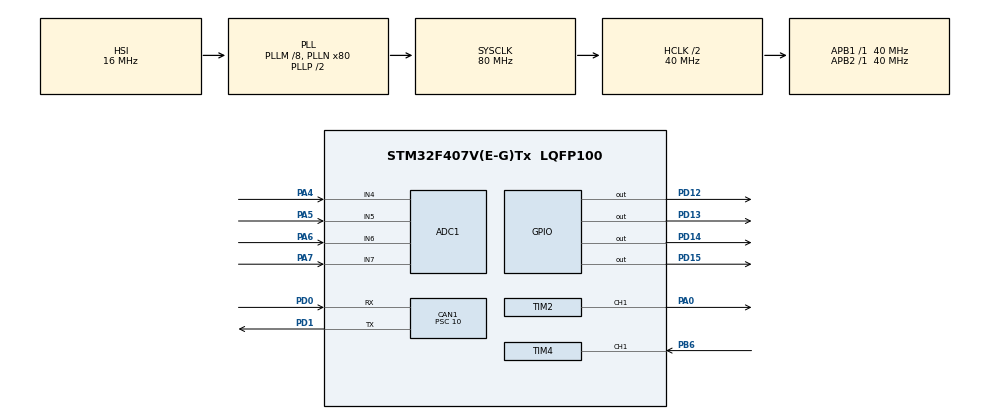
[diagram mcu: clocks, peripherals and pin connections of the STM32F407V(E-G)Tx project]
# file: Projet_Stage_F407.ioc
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ADC1.Channel-0\#ChannelRegularConversion=ADC_CHANNEL_4
ADC1.Channel-1\#ChannelRegularConversion=ADC_CHANNEL_5
ADC1.Channel-2\#ChannelRegularConversion=ADC_CHANNEL_6
ADC1.Channel-3\#ChannelRegularConversion=ADC_CHANNEL_7
ADC1.DMAContinuousRequests=ENABLE
ADC1.DiscontinuousConvMode=ENABLE
ADC1.EOCSelection=ADC_EOC_SEQ_CONV
ADC1.ExternalTrigConv=ADC_EXTERNALTRIGCONV_T3_TRGO
ADC1.NbrOfConversion=4
ADC1.NbrOfConversionFlag=1
ADC1.NbrOfDiscConversion=4
ADC1.Rank-0\#ChannelRegularConversion=1
ADC1.Rank-1\#ChannelRegularConversion=2
ADC1.Rank-2\#ChannelRegularConversion=3
ADC1.Rank-3\#ChannelRegularConversion=4
ADC1.SamplingTime-0\#ChannelRegularConversion=ADC_SAMPLETIME_15CYCLES
ADC1.SamplingTime-1\#ChannelRegularConversion=ADC_SAMPLETIME_15CYCLES
ADC1.SamplingTime-2\#ChannelRegularConversion=ADC_SAMPLETIME_15CYCLES
ADC1.SamplingTime-3\#ChannelRegularConversion=ADC_SAMPLETIME_15CYCLES
ADC1.ScanConvMode=ENABLE
ADC1.master=1
CAN1.ABOM=ENABLE
CAN1.BS1=CAN_BS1_10TQ
CAN1.BS2=CAN_BS2_5TQ
CAN1.CalculateBaudRate=250000
CAN1.CalculateTimeBit=4000
CAN1.CalculateTimeQuantum=250.0
CAN1.NART=ENABLE
CAN1.Prescaler=10
Dma.ADC1.0.Direction=DMA_PERIPH_TO_MEMORY
Dma.ADC1.0.FIFOMode=DMA_FIFOMODE_DISABLE
Dma.ADC1.0.Instance=DMA2_Stream0
Dma.ADC1.0.MemDataAlignment=DMA_MDATAALIGN_HALFWORD
Dma.ADC1.0.MemInc=DMA_MINC_ENABLE
Dma.ADC1.0.Mode=DMA_CIRCULAR
Dma.ADC1.0.PeriphDataAlignment=DMA_PDATAALIGN_HALFWORD
Dma.ADC1.0.PeriphInc=DMA_PINC_DISABLE
Dma.ADC1.0.Priority=DMA_PRIORITY_LOW
Dma.Request0=ADC1
Mcu.Family=STM32F4
Mcu.Name=STM32F407V(E-G)Tx
Mcu.Package=LQFP100
NVIC.CAN1_RX0_IRQn=true\:0\:0\:false\:false\:true\:true\:true\:true
NVIC.DMA2_Stream0_IRQn=true\:0\:0\:false\:false\:true\:false\:true\:true
NVIC.PriorityGroup=NVIC_PRIORITYGROUP_4
NVIC.TIM4_IRQn=true\:0\:0\:false\:false\:true\:true\:true\:true
PA0-WKUP.Signal=S_TIM2_CH1_ETR
PA4.Signal=ADCx_IN4
PA5.Signal=ADCx_IN5
PA6.Signal=ADCx_IN6
PA7.Signal=ADCx_IN7
PB6.Signal=S_TIM4_CH1
PD0.Mode=CAN_Activate
PD0.Signal=CAN1_RX
PD1.Mode=CAN_Activate
PD1.Signal=CAN1_TX
PD12.Signal=GPIO_Output
PD13.Signal=GPIO_Output
PD14.Signal=GPIO_Output
PD15.Signal=GPIO_Output
PH0-OSC_IN.Mode=HSE-External-Oscillator
PH0-OSC_IN.Signal=RCC_OSC_IN
PH1-OSC_OUT.Mode=HSE-External-Oscillator
PH1-OSC_OUT.Signal=RCC_OSC_OUT
ProjectManager.HeapSize=0x200
ProjectManager.StackSize=0x400
ProjectManager.TargetToolchain=STM32CubeIDE
RCC.48MHZClocksFreq_Value=40000000
RCC.AHBCLKDivider=RCC_SYSCLK_DIV2
RCC.AHBFreq_Value=40000000
RCC.APB1Freq_Value=40000000
RCC.APB1TimFreq_Value=40000000
RCC.APB2Freq_Value=40000000
RCC.APB2TimFreq_Value=40000000
RCC.CortexFreq_Value=40000000
RCC.HCLKFreq_Value=40000000
RCC.HSE_VALUE=8000000
RCC.HSI_VALUE=16000000
RCC.LSE_VALUE=32768
RCC.PLLM=8
RCC.PLLN=80
RCC.SYSCLKFreq_VALUE=80000000
RCC.SYSCLKSource=RCC_SYSCLKSOURCE_PLLCLK
RCC.VCOOutputFreq_Value=160000000
SH.ADCx_IN4.0=ADC1_IN4,IN4
SH.ADCx_IN5.0=ADC1_IN5,IN5
SH.ADCx_IN6.0=ADC1_IN6,IN6
SH.ADCx_IN7.0=ADC1_IN7,IN7
SH.S_TIM2_CH1_ETR.0=TIM2_CH1,PWM Generation1 CH1
SH.S_TIM4_CH1.0=TIM4_CH1,PWM_Input_1
TIM2.Channel-PWM\ Generation1\ CH1=TIM_CHANNEL_1
TIM2.Period=999
TIM2.Prescaler=39
TIM2.TIM_MasterOutputTrigger=TIM_TRGO_UPDATE
TIM3.Period=99
TIM3.Prescaler=39999
TIM3.TIM_MasterOutputTrigger=TIM_TRGO_UPDATE
TIM4.Prescaler=39
TIM4.TIM_MasterOutputTrigger=TIM_TRGO_UPDATE
VP_TIM2_VS_ClockSourceINT.Mode=Internal
VP_TIM3_VS_ClockSourceINT.Mode=Internal
VP_TIM4_VS_ClockSourceINT.Mode=Internal
board=custom

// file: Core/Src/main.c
/* USER CODE BEGIN Header */
/**
  ******************************************************************************
  * @file           : main.c
  * @brief          : Main program body
  ******************************************************************************
  * @attention
  *
  * Copyright (c) 2024 STMicroelectronics.
  * All rights reserved.
  *
  * This software is licensed under terms that can be found in the LICENSE file
  * in the root directory of this software component.
  * If no LICENSE file comes with this software, it is provided AS-IS.
  *
  ******************************************************************************
  */
/* USER CODE END Header */
#include "main.h"

/* USER CODE BEGIN Includes */
#include"GPIO_LED.h"
#include"PWM_Output.h"
#include"PWM_Input.h"

/* USER CODE END Includes */

/* USER CODE BEGIN PD */

#define IRQ_Enable (CAN_IT_TX_MAILBOX_EMPTY         \
                    | CAN_IT_RX_FIFO0_MSG_PENDING   \
                    | CAN_IT_RX_FIFO0_FULL          \
                    | CAN_IT_RX_FIFO0_OVERRUN       \
                    | CAN_IT_RX_FIFO1_MSG_PENDING   \
                    | CAN_IT_RX_FIFO1_FULL          \
                    | CAN_IT_RX_FIFO1_OVERRUN)

#define Driver_error 0xFBU
#define Bad_parameter 0xFEU
#define Module_ID_not_defined 0xFAU
#define Routine_ID_not_defined 0xFFU
#define pwm_channel_max 4U
#define duty_cycle_max 0x2710U   //duty cycle =100% equivalent to 10000(HEX 2710)  //precision=0.01%
#define  BUFFER_SIZE 4U

/* USER CODE END PD */

ADC_HandleTypeDef hadc1;
DMA_HandleTypeDef hdma_adc1;

CAN_HandleTypeDef hcan1;

TIM_HandleTypeDef htim2;
TIM_HandleTypeDef htim3;
TIM_HandleTypeDef htim4;

void SystemClock_Config(void);
static void MX_GPIO_Init(void);
static void MX_DMA_Init(void);
static void MX_ADC1_Init(void);
static void MX_TIM2_Init(void);
static void MX_TIM3_Init(void);
static void MX_TIM4_Init(void);
static void MX_CAN1_Init(void);

/* USER CODE BEGIN 0 */

static CAN_TxHeaderTypeDef TxHeader;
CAN_RxHeaderTypeDef RxHeader;
uint8_t Rx_Data[8];
uint8_t Tx_Data[8] = {0};
uint32_t TxMailbox;
GPIO_TypeDef* GPIOx;
uint16_t adc_buffer[BUFFER_SIZE];
 ADC_HandleTypeDef hadc1;
DMA_HandleTypeDef hdma_adc1;

void Send_CAN_Message(uint8_t *data, uint32_t length)  //variable data length
{
    TxHeader.DLC = length;
    if (HAL_CAN_AddTxMessage(&hcan1, &TxHeader, data, &TxMailbox) != HAL_OK)
    {
        Error_Handler();          // Handle transmission error
    }
}

void CAN_ConfigFilter(uint32_t filterBank, uint32_t id, uint32_t idType)
{
    CAN_FilterTypeDef canFilterConfig;  // Declare a filter configuration structure
    canFilterConfig.FilterBank = filterBank;   // Set the filter bank number to configure
    canFilterConfig.FilterMode = CAN_FILTERMODE_IDMASK;  // Set the filter mode to ID mask
    canFilterConfig.FilterScale = CAN_FILTERSCALE_32BIT;// Set the filter scale to 32 bits (for extended IDs)
    canFilterConfig.FilterFIFOAssignment = CAN_FILTER_FIFO0;  // Assign the filter to FIFO0 (First In First Out)
    canFilterConfig.FilterActivation = ENABLE;   // Activate the filter
    if (idType == CAN_ID_STD)
    {
        // Configure the standard ID filter
        canFilterConfig.FilterIdHigh = id << 5; // Shift the ID left by 5 bits for the high part
        canFilterConfig.FilterIdLow = 0x0000;   // Low part is not used for standard IDs
        // Set the mask for standard IDs (allow any ID matching the higher bits)
        canFilterConfig.FilterMaskIdHigh = 0xFFFF << 5; // Mask high part
        canFilterConfig.FilterMaskIdLow = 0x0000;       // Mask low part
    }
    else if (idType == CAN_ID_EXT)
    {
        // Configure the extended ID filter
        canFilterConfig.FilterIdHigh = (id >> 13) & 0xFFFF; // Get the high part of the extended ID
        canFilterConfig.FilterIdLow = (id << 3) & 0xFFFF;   // Get the low part of the extended ID
        // Set the mask for extended IDs
        canFilterConfig.FilterMaskIdHigh = (0x1FFFFFFF >> 13) & 0xFFFF; // Max mask high part
        canFilterConfig.FilterMaskIdLow = (0x1FFFFFFF << 3) & 0xFFFF;   // Max mask low part
    }
    if (HAL_CAN_ConfigFilter(&hcan1, &canFilterConfig) != HAL_OK)  // Configure the CAN filter with the defined settings
    {
        Error_Handler();
    }
}

/* USER CODE END 0 */

int main(void)
{

  /* MCU Configuration--------------------------------------------------------*/

  /* Reset of all peripherals, Initializes the Flash interface and the Systick. */
  HAL_Init();

  /* Configure the system clock */
  SystemClock_Config();

  /* Initialize all configured peripherals */
  MX_GPIO_Init();
  MX_DMA_Init();
  MX_ADC1_Init();
  MX_TIM2_Init();
  MX_TIM3_Init();
  MX_TIM4_Init();
  MX_CAN1_Init();
  /* USER CODE BEGIN 2 */
  HAL_TIM_IC_Start_IT(&htim4, TIM_CHANNEL_1);
  HAL_TIM_IC_Start_IT(&htim4, TIM_CHANNEL_2);
  //simplify the timer configuration and interrupt handling code by using a single channel to capture both edges of the signal

  if (HAL_CAN_ActivateNotification(&hcan1,IRQ_Enable) != HAL_OK)  //activate the notification after successful transmission
  {
      Error_Handler();
  }
  HAL_TIM_Base_Start(&htim2);
  HAL_TIM_Base_Start(&htim3);
  HAL_CAN_Start(&hcan1);

  // Configuration of header of message CAN
  TxHeader.DLC=0x8U; // Length data (8 bytes )
  TxHeader.IDE=CAN_ID_STD; // standard Identifier
  TxHeader.RTR=CAN_RTR_DATA; // Data frame
  TxHeader.StdId=0x366U;// standard Identifier
  TxHeader.TransmitGlobalTime=DISABLE;   //not include a global timestamp
  CAN_ConfigFilter(0, 0x402, CAN_ID_STD);   //accepted ID  =0x400

  /* USER CODE END 2 */

  /* Infinite loop */
  while (1)
  {

    /* USER CODE BEGIN 3 */

  }
  HAL_StatusTypeDef status;
  status = HAL_CAN_AddTxMessage(&hcan1, &TxHeader, Tx_Data, &TxMailbox);
  if (status != HAL_OK)
  {
      Error_Handler();
  }

  /* USER CODE END 3 */
}

void SystemClock_Config(void)
{
  RCC_OscInitTypeDef RCC_OscInitStruct = {0};
  RCC_ClkInitTypeDef RCC_ClkInitStruct = {0};

  /** Configure the main internal regulator output voltage
  */
  __HAL_RCC_PWR_CLK_ENABLE();
  __HAL_PWR_VOLTAGESCALING_CONFIG(PWR_REGULATOR_VOLTAGE_SCALE1);

  /** Initializes the RCC Oscillators according to the specified parameters
  * in the RCC_OscInitTypeDef structure.
  */
  RCC_OscInitStruct.OscillatorType = RCC_OSCILLATORTYPE_HSI;
  RCC_OscInitStruct.HSIState = RCC_HSI_ON;
  RCC_OscInitStruct.HSICalibrationValue = RCC_HSICALIBRATION_DEFAULT;
  RCC_OscInitStruct.PLL.PLLState = RCC_PLL_ON;
  RCC_OscInitStruct.PLL.PLLSource = RCC_PLLSOURCE_HSI;
  RCC_OscInitStruct.PLL.PLLM = 8;
  RCC_OscInitStruct.PLL.PLLN = 80;
  RCC_OscInitStruct.PLL.PLLP = RCC_PLLP_DIV2;
  RCC_OscInitStruct.PLL.PLLQ = 4;
  if (HAL_RCC_OscConfig(&RCC_OscInitStruct) != HAL_OK)
  {
    Error_Handler();
  }

  /** Initializes the CPU, AHB and APB buses clocks
  */
  RCC_ClkInitStruct.ClockType = RCC_CLOCKTYPE_HCLK|RCC_CLOCKTYPE_SYSCLK
                              |RCC_CLOCKTYPE_PCLK1|RCC_CLOCKTYPE_PCLK2;
  RCC_ClkInitStruct.SYSCLKSource = RCC_SYSCLKSOURCE_PLLCLK;
  RCC_ClkInitStruct.AHBCLKDivider = RCC_SYSCLK_DIV2;
  RCC_ClkInitStruct.APB1CLKDivider = RCC_HCLK_DIV1;
  RCC_ClkInitStruct.APB2CLKDivider = RCC_HCLK_DIV1;

  if (HAL_RCC_ClockConfig(&RCC_ClkInitStruct, FLASH_LATENCY_1) != HAL_OK)
  {
    Error_Handler();
  }
}

static void MX_ADC1_Init(void)
{

  ADC_ChannelConfTypeDef sConfig = {0};

  /** Configure the global features of the ADC (Clock, Resolution, Data Alignment and number of conversion)
  */
  hadc1.Instance = ADC1;
  hadc1.Init.ClockPrescaler = ADC_CLOCK_SYNC_PCLK_DIV2;
  hadc1.Init.Resolution = ADC_RESOLUTION_12B;
  hadc1.Init.ScanConvMode = ENABLE;
  hadc1.Init.ContinuousConvMode = DISABLE;
  hadc1.Init.DiscontinuousConvMode = ENABLE;
  hadc1.Init.NbrOfDiscConversion = 4;
  hadc1.Init.ExternalTrigConvEdge = ADC_EXTERNALTRIGCONVEDGE_RISING;
  hadc1.Init.ExternalTrigConv = ADC_EXTERNALTRIGCONV_T3_TRGO;
  hadc1.Init.DataAlign = ADC_DATAALIGN_RIGHT;
  hadc1.Init.NbrOfConversion = 4;
  hadc1.Init.DMAContinuousRequests = ENABLE;
  hadc1.Init.EOCSelection = ADC_EOC_SEQ_CONV;
  if (HAL_ADC_Init(&hadc1) != HAL_OK)
  {
    Error_Handler();
  }

  /** Configure for the selected ADC regular channel its corresponding rank in the sequencer and its sample time.
  */
  sConfig.Channel = ADC_CHANNEL_4;
  sConfig.Rank = 1;
  sConfig.SamplingTime = ADC_SAMPLETIME_15CYCLES;
  if (HAL_ADC_ConfigChannel(&hadc1, &sConfig) != HAL_OK)
  {
    Error_Handler();
  }

  /** Configure for the selected ADC regular channel its corresponding rank in the sequencer and its sample time.
  */
  sConfig.Channel = ADC_CHANNEL_5;
  sConfig.Rank = 2;
  if (HAL_ADC_ConfigChannel(&hadc1, &sConfig) != HAL_OK)
  {
    Error_Handler();
  }

  /** Configure for the selected ADC regular channel its corresponding rank in the sequencer and its sample time.
  */
  sConfig.Channel = ADC_CHANNEL_6;
  sConfig.Rank = 3;
  if (HAL_ADC_ConfigChannel(&hadc1, &sConfig) != HAL_OK)
  {
    Error_Handler();
  }

  /** Configure for the selected ADC regular channel its corresponding rank in the sequencer and its sample time.
  */
  sConfig.Channel = ADC_CHANNEL_7;
  sConfig.Rank = 4;
  if (HAL_ADC_ConfigChannel(&hadc1, &sConfig) != HAL_OK)
  {
    Error_Handler();
  }

}

static void MX_CAN1_Init(void)
{

  hcan1.Instance = CAN1;
  hcan1.Init.Prescaler = 10;
  hcan1.Init.Mode = CAN_MODE_NORMAL;
  hcan1.Init.SyncJumpWidth = CAN_SJW_1TQ;
  hcan1.Init.TimeSeg1 = CAN_BS1_10TQ;
  hcan1.Init.TimeSeg2 = CAN_BS2_5TQ;
  hcan1.Init.TimeTriggeredMode = DISABLE;
  hcan1.Init.AutoBusOff = ENABLE;
  hcan1.Init.AutoWakeUp = DISABLE;
  hcan1.Init.AutoRetransmission = ENABLE;
  hcan1.Init.ReceiveFifoLocked = DISABLE;
  hcan1.Init.TransmitFifoPriority = DISABLE;
  if (HAL_CAN_Init(&hcan1) != HAL_OK)
  {
    Error_Handler();
  }

}

static void MX_TIM2_Init(void)
{

  TIM_ClockConfigTypeDef sClockSourceConfig = {0};
  TIM_MasterConfigTypeDef sMasterConfig = {0};
  TIM_OC_InitTypeDef sConfigOC = {0};

  htim2.Instance = TIM2;
  htim2.Init.Prescaler = 39;
  htim2.Init.CounterMode = TIM_COUNTERMODE_UP;
  htim2.Init.Period = 999;
  htim2.Init.ClockDivision = TIM_CLOCKDIVISION_DIV1;
  htim2.Init.AutoReloadPreload = TIM_AUTORELOAD_PRELOAD_DISABLE;
  if (HAL_TIM_Base_Init(&htim2) != HAL_OK)
  {
    Error_Handler();
  }
  sClockSourceConfig.ClockSource = TIM_CLOCKSOURCE_INTERNAL;
  if (HAL_TIM_ConfigClockSource(&htim2, &sClockSourceConfig) != HAL_OK)
  {
    Error_Handler();
  }
  if (HAL_TIM_PWM_Init(&htim2) != HAL_OK)
  {
    Error_Handler();
  }
  sMasterConfig.MasterOutputTrigger = TIM_TRGO_UPDATE;
  sMasterConfig.MasterSlaveMode = TIM_MASTERSLAVEMODE_DISABLE;
  if (HAL_TIMEx_MasterConfigSynchronization(&htim2, &sMasterConfig) != HAL_OK)
  {
    Error_Handler();
  }
  sConfigOC.OCMode = TIM_OCMODE_PWM1;
  sConfigOC.Pulse = 0;
  sConfigOC.OCPolarity = TIM_OCPOLARITY_HIGH;
  sConfigOC.OCFastMode = TIM_OCFAST_DISABLE;
  if (HAL_TIM_PWM_ConfigChannel(&htim2, &sConfigOC, TIM_CHANNEL_1) != HAL_OK)
  {
    Error_Handler();
  }
  HAL_TIM_MspPostInit(&htim2);

}

static void MX_TIM3_Init(void)
{

  TIM_ClockConfigTypeDef sClockSourceConfig = {0};
  TIM_MasterConfigTypeDef sMasterConfig = {0};

  htim3.Instance = TIM3;
  htim3.Init.Prescaler = 39999;
  htim3.Init.CounterMode = TIM_COUNTERMODE_UP;
  htim3.Init.Period = 99;
  htim3.Init.ClockDivision = TIM_CLOCKDIVISION_DIV1;
  htim3.Init.AutoReloadPreload = TIM_AUTORELOAD_PRELOAD_DISABLE;
  if (HAL_TIM_Base_Init(&htim3) != HAL_OK)
  {
    Error_Handler();
  }
  sClockSourceConfig.ClockSource = TIM_CLOCKSOURCE_INTERNAL;
  if (HAL_TIM_ConfigClockSource(&htim3, &sClockSourceConfig) != HAL_OK)
  {
    Error_Handler();
  }
  sMasterConfig.MasterOutputTrigger = TIM_TRGO_UPDATE;
  sMasterConfig.MasterSlaveMode = TIM_MASTERSLAVEMODE_DISABLE;
  if (HAL_TIMEx_MasterConfigSynchronization(&htim3, &sMasterConfig) != HAL_OK)
  {
    Error_Handler();
  }

}

static void MX_TIM4_Init(void)
{

  TIM_ClockConfigTypeDef sClockSourceConfig = {0};
  TIM_SlaveConfigTypeDef sSlaveConfig = {0};
  TIM_IC_InitTypeDef sConfigIC = {0};
  TIM_MasterConfigTypeDef sMasterConfig = {0};

  htim4.Instance = TIM4;
  htim4.Init.Prescaler = 39;
  htim4.Init.CounterMode = TIM_COUNTERMODE_UP;
  htim4.Init.Period = 65535;
  htim4.Init.ClockDivision = TIM_CLOCKDIVISION_DIV1;
  htim4.Init.AutoReloadPreload = TIM_AUTORELOAD_PRELOAD_DISABLE;
  if (HAL_TIM_Base_Init(&htim4) != HAL_OK)
  {
    Error_Handler();
  }
  sClockSourceConfig.ClockSource = TIM_CLOCKSOURCE_INTERNAL;
  if (HAL_TIM_ConfigClockSource(&htim4, &sClockSourceConfig) != HAL_OK)
  {
    Error_Handler();
  }
  if (HAL_TIM_IC_Init(&htim4) != HAL_OK)
  {
    Error_Handler();
  }
  sSlaveConfig.SlaveMode = TIM_SLAVEMODE_RESET;
  sSlaveConfig.InputTrigger = TIM_TS_TI1FP1;
  sSlaveConfig.TriggerPolarity = TIM_INPUTCHANNELPOLARITY_RISING;
  sSlaveConfig.TriggerPrescaler = TIM_ICPSC_DIV1;
  sSlaveConfig.TriggerFilter = 0;
  if (HAL_TIM_SlaveConfigSynchro(&htim4, &sSlaveConfig) != HAL_OK)
  {
    Error_Handler();
  }
  sConfigIC.ICPolarity = TIM_INPUTCHANNELPOLARITY_RISING;
  sConfigIC.ICSelection = TIM_ICSELECTION_DIRECTTI;
  sConfigIC.ICPrescaler = TIM_ICPSC_DIV1;
  sConfigIC.ICFilter = 0;
  if (HAL_TIM_IC_ConfigChannel(&htim4, &sConfigIC, TIM_CHANNEL_1) != HAL_OK)
  {
    Error_Handler();
  }
  sConfigIC.ICPolarity = TIM_INPUTCHANNELPOLARITY_FALLING;
  sConfigIC.ICSelection = TIM_ICSELECTION_INDIRECTTI;
  if (HAL_TIM_IC_ConfigChannel(&htim4, &sConfigIC, TIM_CHANNEL_2) != HAL_OK)
  {
    Error_Handler();
  }
  sMasterConfig.MasterOutputTrigger = TIM_TRGO_UPDATE;
  sMasterConfig.MasterSlaveMode = TIM_MASTERSLAVEMODE_DISABLE;
  if (HAL_TIMEx_MasterConfigSynchronization(&htim4, &sMasterConfig) != HAL_OK)
  {
    Error_Handler();
  }

}

static void MX_DMA_Init(void)
{

  /* DMA controller clock enable */
  __HAL_RCC_DMA2_CLK_ENABLE();

  /* DMA interrupt init */
  /* DMA2_Stream0_IRQn interrupt configuration */
  HAL_NVIC_SetPriority(DMA2_Stream0_IRQn, 0, 0);
  HAL_NVIC_EnableIRQ(DMA2_Stream0_IRQn);

}

static void MX_GPIO_Init(void)
{
  GPIO_InitTypeDef GPIO_InitStruct = {0};

  /* GPIO Ports Clock Enable */
  __HAL_RCC_GPIOH_CLK_ENABLE();
  __HAL_RCC_GPIOA_CLK_ENABLE();
  __HAL_RCC_GPIOD_CLK_ENABLE();
  __HAL_RCC_GPIOB_CLK_ENABLE();

  /*Configure GPIO pin Output Level */
  HAL_GPIO_WritePin(GPIOD, GPIO_PIN_12|GPIO_PIN_13|GPIO_PIN_14|GPIO_PIN_15, GPIO_PIN_RESET);

  /*Configure GPIO pins : PD12 PD13 PD14 PD15 */
  GPIO_InitStruct.Pin = GPIO_PIN_12|GPIO_PIN_13|GPIO_PIN_14|GPIO_PIN_15;
  GPIO_InitStruct.Mode = GPIO_MODE_OUTPUT_PP;
  GPIO_InitStruct.Pull = GPIO_NOPULL;
  GPIO_InitStruct.Speed = GPIO_SPEED_FREQ_LOW;
  HAL_GPIO_Init(GPIOD, &GPIO_InitStruct);

}

void Error_Handler(void)
{
  __disable_irq();
  while (1)
  {
  }
}
